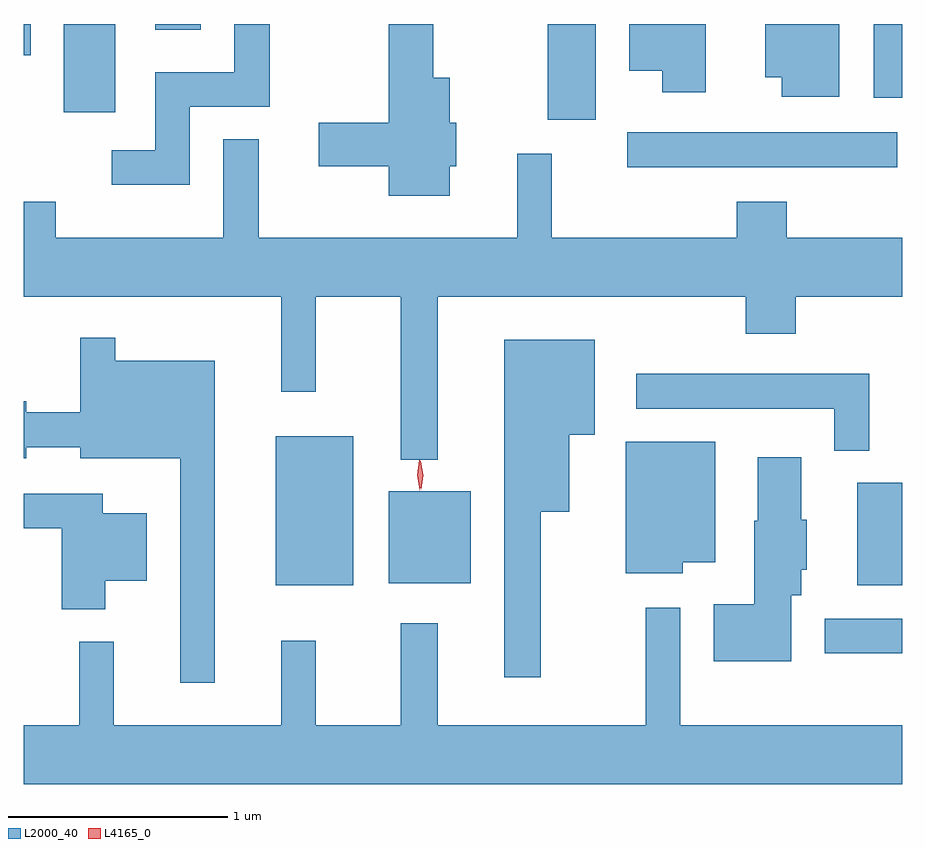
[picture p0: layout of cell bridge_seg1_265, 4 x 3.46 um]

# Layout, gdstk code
import gdstk
lib = gdstk.Library(unit=1e-6, precision=1e-09)
def R(c, l, rs):  # rectangles x0, y0, x1, y1
    for r in rs: c.add(gdstk.rectangle(r[:2], r[2:], *l))
def P(c, l, *ps):  # polygons
    for p in ps: c.add(gdstk.Polygon(p, *l))
L2000_40 = (2000, 40)
L4165_0 = (4165, 0)

bridge_seg1_265 = lib.new_cell('bridge_seg1_265')
R(bridge_seg1_265, L2000_40, [(952.843,873.531,953.194,873.689), (950.341,873.841,950.694,874.519), (952.991,873.841,953.194,874.309), (950.856,873.851,951.229,874.269), (951.943,875.746,953.173,875.904), (951.581,875.961,951.799,876.398), (949.376,875.996,949.609,876.398), (953.066,876.061,953.194,876.398), (949.194,876.256,949.224,876.398), (949.791,876.371,949.999,876.398)])
P(bridge_seg1_265, L2000_40, [(952.299,876.398),(951.951,876.398),(951.951,876.186),(952.101,876.186),(952.101,876.086),(952.299,876.086)],
  [(951.134,875.751),(951.164,875.751),(951.164,875.949),(951.134,875.949),(951.134,876.154),(951.059,876.154),(951.059,876.398),(950.856,876.398),(950.856,875.949),(950.536,875.949),(950.536,875.751),(950.856,875.751),(950.856,875.616),(951.134,875.616)],
  [(949.949,876.021),(950.314,876.021),(950.314,876.398),(950.151,876.398),(950.151,876.179),(949.791,876.179),(949.791,875.824),(949.593,875.824),(949.593,875.666),(949.949,875.666)],
  [(952.909,876.398),(952.571,876.398),(952.571,876.156),(952.646,876.156),(952.646,876.066),(952.909,876.066)],
  [(952.481,874.986),(952.709,874.986),(952.709,875.156),(953.194,875.156),(953.194,875.424),(952.669,875.424),(952.669,875.589),(952.441,875.589),(952.441,875.424),(951.599,875.424),(951.599,875.808),(951.441,875.808),(951.441,875.424),(950.264,875.424),(950.264,875.873),(950.101,875.873),(950.101,875.424),(949.339,875.424),(949.339,875.589),(949.194,875.589),(949.194,875.156),(950.366,875.156),(950.366,874.723),(950.524,874.723),(950.524,875.156),(950.911,875.156),(950.911,874.413),(951.079,874.413),(951.079,875.156),(952.481,875.156)],
  [(950.064,874.864),(949.609,874.864),(949.609,874.968),(949.451,874.968),(949.451,874.629),(949.204,874.629),(949.204,874.679),(949.194,874.679),(949.194,874.421),(949.204,874.421),(949.204,874.471),(949.451,874.471),(949.451,874.421),(949.906,874.421),(949.906,873.398),(950.064,873.398)],
  [(951.549,874.176),(951.679,874.176),(951.679,874.526),(951.794,874.526),(951.794,874.959),(951.381,874.959),(951.381,873.423),(951.549,873.423)],
  [(953.044,874.804),(951.983,874.804),(951.983,874.646),(952.886,874.646),(952.886,874.453),(953.044,874.453)],
  [(952.194,873.946),(952.344,873.946),(952.344,874.494),(951.936,874.494),(951.936,873.896),(952.194,873.896)],
  [(952.689,873.796),(952.734,873.796),(952.734,873.911),(952.759,873.911),(952.759,874.139),(952.734,874.139),(952.734,874.424),(952.536,874.424),(952.536,874.135),(952.521,874.135),(952.521,873.754),(952.336,873.754),(952.336,873.496),(952.689,873.496)],
  [(949.564,873.861),(949.754,873.861),(949.754,874.169),(949.554,874.169),(949.554,874.259),(949.194,874.259),(949.194,874.101),(949.366,874.101),(949.366,873.731),(949.564,873.731)],
  [(953.194,873.204),(952.184,873.204),(952.184,873.738),(952.026,873.738),(952.026,873.204),(951.079,873.204),(951.079,873.668),(950.911,873.668),(950.911,873.204),(950.524,873.204),(950.524,873.588),(950.366,873.588),(950.366,873.204),(949.604,873.204),(949.604,873.583),(949.446,873.583),(949.446,873.204),(949.194,873.204),(949.194,872.936),(953.194,872.936)])
P(bridge_seg1_265, L4165_0, [(950.996,874.273),(950.996,874.274),(950.986,874.342),(950.995,874.41),(950.995,874.41),(950.996,874.41),(951.006,874.342),(950.997,874.274)],
  [(951.003,874.278),(951.003,874.279),(950.992,874.343),(951,874.407),(951.001,874.407),(951.001,874.407),(951.012,874.343),(951.004,874.279)])

lib.write_gds('bridge_seg1_265.gds')
